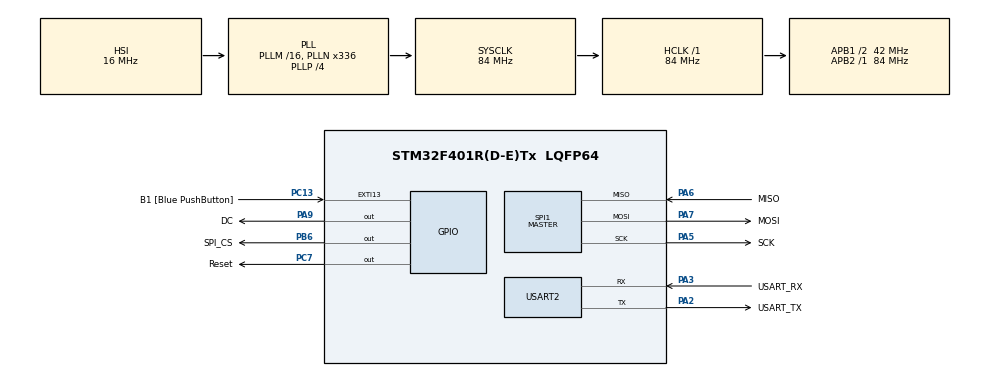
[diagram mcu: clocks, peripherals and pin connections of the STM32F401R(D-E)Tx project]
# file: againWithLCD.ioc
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Dma.Request0=SPI1_TX
Dma.Request1=SPI1_RX
Dma.SPI1_RX.1.Channel=DMA_CHANNEL_3
Dma.SPI1_RX.1.Direction=DMA_PERIPH_TO_MEMORY
Dma.SPI1_RX.1.FIFOMode=DMA_FIFOMODE_DISABLE
Dma.SPI1_RX.1.Instance=DMA2_Stream0
Dma.SPI1_RX.1.MemDataAlignment=DMA_MDATAALIGN_BYTE
Dma.SPI1_RX.1.MemInc=DMA_MINC_ENABLE
Dma.SPI1_RX.1.Mode=DMA_NORMAL
Dma.SPI1_RX.1.PeriphDataAlignment=DMA_PDATAALIGN_BYTE
Dma.SPI1_RX.1.PeriphInc=DMA_PINC_DISABLE
Dma.SPI1_RX.1.Priority=DMA_PRIORITY_LOW
Dma.SPI1_TX.0.Channel=DMA_CHANNEL_3
Dma.SPI1_TX.0.Direction=DMA_MEMORY_TO_PERIPH
Dma.SPI1_TX.0.FIFOMode=DMA_FIFOMODE_DISABLE
Dma.SPI1_TX.0.Instance=DMA2_Stream3
Dma.SPI1_TX.0.MemDataAlignment=DMA_MDATAALIGN_BYTE
Dma.SPI1_TX.0.MemInc=DMA_MINC_ENABLE
Dma.SPI1_TX.0.Mode=DMA_NORMAL
Dma.SPI1_TX.0.PeriphDataAlignment=DMA_PDATAALIGN_BYTE
Dma.SPI1_TX.0.PeriphInc=DMA_PINC_DISABLE
Dma.SPI1_TX.0.Priority=DMA_PRIORITY_LOW
FREERTOS.Tasks01=defaultTask,0,128,StartDefaultTask,Default;myTaskSPI,0,128,StartTask02,Default
FREERTOS.Timers01=myTimer01,Callback01,osTimerPeriodic,Default
FREERTOS.configUSE_TIMERS=1
Mcu.Family=STM32F4
Mcu.Name=STM32F401R(D-E)Tx
Mcu.Package=LQFP64
NVIC.DMA2_Stream0_IRQn=true\:5\:0\:false
NVIC.DMA2_Stream3_IRQn=true\:5\:0\:false
NVIC.PriorityGroup=NVIC_PRIORITYGROUP_4
NVIC.TIM1_UP_TIM10_IRQn=true\:0\:0\:false
NVIC.TimeBase=TIM1_UP_TIM10_IRQn
NVIC.TimeBaseIP=TIM10
PA13.GPIO_Label=TMS
PA13.Signal=SYS_JTMS-SWDIO
PA14.GPIO_Label=TCK
PA14.Signal=SYS_JTCK-SWCLK
PA2.GPIO_Label=USART_TX
PA2.GPIO_Mode=GPIO_MODE_AF_PP
PA2.GPIO_PuPd=GPIO_NOPULL
PA2.GPIO_Speed=GPIO_SPEED_LOW
PA2.Mode=Asynchronous
PA2.Signal=USART2_TX
PA3.GPIO_Label=USART_RX
PA3.GPIO_Mode=GPIO_MODE_AF_PP
PA3.GPIO_PuPd=GPIO_NOPULL
PA3.GPIO_Speed=GPIO_SPEED_LOW
PA3.Mode=Asynchronous
PA3.Signal=USART2_RX
PA5.GPIO_Label=SCK
PA5.Mode=Full_Duplex_Master
PA5.Signal=SPI1_SCK
PA6.GPIO_Label=MISO
PA6.Mode=Full_Duplex_Master
PA6.Signal=SPI1_MISO
PA7.GPIO_Label=MOSI
PA7.Mode=Full_Duplex_Master
PA7.Signal=SPI1_MOSI
PA9.GPIO_Label=DC
PA9.GPIO_Speed=GPIO_SPEED_HIGH
PA9.PinState=GPIO_PIN_RESET
PA9.Signal=GPIO_Output
PB3.GPIO_Label=SWO
PB3.Signal=SYS_JTDO-SWO
PB6.GPIO_Label=SPI_CS
PB6.GPIO_Speed=GPIO_SPEED_HIGH
PB6.Signal=GPIO_Output
PC13-ANTI_TAMP.GPIO_Label=B1 [Blue PushButton]
PC13-ANTI_TAMP.GPIO_ModeDefaultEXTI=GPIO_MODE_EVT_RISING
PC13-ANTI_TAMP.GPIO_PuPd=GPIO_NOPULL
PC13-ANTI_TAMP.Signal=GPXTI13
PC14-OSC32_IN.Signal=RCC_OSC32_IN
PC15-OSC32_OUT.Signal=RCC_OSC32_OUT
PC7.GPIO_Label=Reset
PC7.GPIO_Speed=GPIO_SPEED_HIGH
PC7.Signal=GPIO_Output
PH0\ -\ OSC_IN.Signal=RCC_OSC_IN
PH1\ -\ OSC_OUT.Signal=RCC_OSC_OUT
ProjectManager.HeapSize=0x400
ProjectManager.StackSize=0x200
ProjectManager.TargetToolchain=SW4STM32
RCC.AHBFreq_Value=84000000
RCC.APB1CLKDivider=RCC_HCLK_DIV2
RCC.APB1Freq_Value=42000000
RCC.APB1TimFreq_Value=84000000
RCC.APB2Freq_Value=84000000
RCC.APB2TimFreq_Value=84000000
RCC.CortexFreq_Value=84000000
RCC.HCLKFreq_Value=84000000
RCC.HSE_VALUE=8000000
RCC.HSI_VALUE=16000000
RCC.LSE_VALUE=32768
RCC.PLLN=336
RCC.PLLP=RCC_PLLP_DIV4
RCC.PLLQ=7
RCC.SYSCLKFreq_VALUE=84000000
RCC.SYSCLKSource=RCC_SYSCLKSOURCE_PLLCLK
RCC.VCOOutputFreq_Value=336000000
SPI1.CLKPhase=SPI_PHASE_1EDGE
SPI1.CLKPolarity=SPI_POLARITY_HIGH
SPI1.DataSize=SPI_DATASIZE_8BIT
SPI1.Mode=SPI_MODE_MASTER
VP_FREERTOS_VS_ENABLE.Mode=Enabled
VP_SYS_VS_tim10.Mode=TIM10
board=NUCLEO-F401RE

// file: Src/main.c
/**
  ******************************************************************************
  * File Name          : main.c
  * Description        : Main program body
  ******************************************************************************
  *
  * COPYRIGHT(c) 2016 STMicroelectronics
  *
  * Redistribution and use in source and binary forms, with or without modification,
  * are permitted provided that the following conditions are met:
  *   1. Redistributions of source code must retain the above copyright notice,
  *      this list of conditions and the following disclaimer.
  *   2. Redistributions in binary form must reproduce the above copyright notice,
  *      this list of conditions and the following disclaimer in the documentation
  *      and/or other materials provided with the distribution.
  *   3. Neither the name of STMicroelectronics nor the names of its contributors
  *      may be used to endorse or promote products derived from this software
  *      without specific prior written permission.
  *
  * THIS SOFTWARE IS PROVIDED BY THE COPYRIGHT HOLDERS AND CONTRIBUTORS "AS IS"
  * AND ANY EXPRESS OR IMPLIED WARRANTIES, INCLUDING, BUT NOT LIMITED TO, THE
  * IMPLIED WARRANTIES OF MERCHANTABILITY AND FITNESS FOR A PARTICULAR PURPOSE ARE
  * DISCLAIMED. IN NO EVENT SHALL THE COPYRIGHT HOLDER OR CONTRIBUTORS BE LIABLE
  * FOR ANY DIRECT, INDIRECT, INCIDENTAL, SPECIAL, EXEMPLARY, OR CONSEQUENTIAL
  * DAMAGES (INCLUDING, BUT NOT LIMITED TO, PROCUREMENT OF SUBSTITUTE GOODS OR
  * SERVICES; LOSS OF USE, DATA, OR PROFITS; OR BUSINESS INTERRUPTION) HOWEVER
  * CAUSED AND ON ANY THEORY OF LIABILITY, WHETHER IN CONTRACT, STRICT LIABILITY,
  * OR TORT (INCLUDING NEGLIGENCE OR OTHERWISE) ARISING IN ANY WAY OUT OF THE USE
  * OF THIS SOFTWARE, EVEN IF ADVISED OF THE POSSIBILITY OF SUCH DAMAGE.
  *
  ******************************************************************************
  */
#include "stm32f4xx_hal.h"
#include "cmsis_os.h"

/* USER CODE BEGIN Includes */

#include "ili9341.h"
#include <string.h>

/* USER CODE END Includes */

SPI_HandleTypeDef hspi1;
DMA_HandleTypeDef hdma_spi1_tx;
DMA_HandleTypeDef hdma_spi1_rx;

UART_HandleTypeDef huart2;

osThreadId defaultTaskHandle;
osThreadId myTaskSPIHandle;
osTimerId myTimer01Handle;

/* USER CODE BEGIN PV */
/* Private variables ---------------------------------------------------------*/

#ifdef __GNUC__
  /* With GCC/RAISONANCE, small printf (option LD Linker->Libraries->Small printf
     set to 'Yes') calls __io_putchar() */
  #define PUTCHAR_PROTOTYPE int __io_putchar(int ch)
#else
  #define PUTCHAR_PROTOTYPE int fputc(int ch, FILE *f)
#endif /* __GNUC__ */

	/**
  * @brief  Retargets the C library printf function to the USART.
  * @param  None
  * @retval None
  */

PUTCHAR_PROTOTYPE
{
  /* Place your implementation of fputc here */
  /* e.g. write a character to the EVAL_COM1 and Loop until the end of transmission */
  HAL_UART_Transmit(&huart2, (uint8_t *)&ch, 1,0xffff);

  return ch;
}

typedef enum {
	TM_ILI9341_Orientation_Portrait_1,  /*!< Portrait orientation mode 1 */
	TM_ILI9341_Orientation_Portrait_2,  /*!< Portrait orientation mode 2 */
	TM_ILI9341_Orientation_Landscape_1, /*!< Landscape orientation mode 1 */
	TM_ILI9341_Orientation_Landscape_2  /*!< Landscape orientation mode 2 */
} TM_ILI9341_Orientation_t;

/**
 * @brief  Orientation
 * @note   Used private
 */
typedef enum {
	TM_ILI9341_Landscape,
	TM_ILI9341_Portrait
} TM_ILI9341_Orientation;

/**
 * @brief  LCD options
 * @note   Used private
 */
typedef struct {
	uint16_t width;
	uint16_t height;
	TM_ILI9341_Orientation orientation; // 1 = portrait; 0 = landscape
} TM_ILI931_Options_t;

/* Pin functions */
uint16_t ILI9341_x;
uint16_t ILI9341_y;
TM_ILI931_Options_t ILI9341_Opts;
uint8_t ILI9341_INT_CalledFromPuts = 0;

/* USER CODE END PV */

void SystemClock_Config(void);
static void MX_GPIO_Init(void);
static void MX_DMA_Init(void);
static void MX_SPI1_Init(void);
static void MX_USART2_UART_Init(void);
void StartDefaultTask(void const * argument);
void StartTask02(void const * argument);
void Callback01(void const * argument);

/* USER CODE BEGIN PFP */
/* Private function prototypes -----------------------------------------------*/

void mputs( uint8_t *desired_string );
void CS_Set(uint8_t state);
void DC_Set(uint8_t state);
void ili9341_DrawPixel(uint16_t x, uint16_t y, uint32_t color);
void ili9341_DrawHLine(uint16_t x0, uint16_t x1, uint16_t y0, uint32_t color);
void ili9341_DrawVLine(uint16_t x, uint16_t y0, uint16_t y1, uint32_t color);
void ILI9341_SetCursorPosition(uint16_t x1, uint16_t y1, uint16_t x2, uint16_t y2);
void ili9341_Rotate(TM_ILI9341_Orientation_t orientation);
void SetSpiDataSize(uint8_t size);
void TM_ILI9341_INT_Fill(uint16_t x0, uint16_t y0, uint16_t x1, uint16_t y1, uint16_t color) ;
void ili9341_Fill(uint32_t color);

/* USER CODE END PFP */

/* USER CODE BEGIN 0 */

unsigned char counter = 0;

uint8_t TxBuff[4], RxBuff[4];

/* USER CODE END 0 */

int main(void)
{

  /* MCU Configuration----------------------------------------------------------*/

  /* Reset of all peripherals, Initializes the Flash interface and the Systick. */
  HAL_Init();

  /* Configure the system clock */
  SystemClock_Config();

  /* Initialize all configured peripherals */
  MX_GPIO_Init();
  MX_DMA_Init();
  MX_SPI1_Init();
  MX_USART2_UART_Init();

  /* USER CODE BEGIN 2 */

	ili9341_Init();
	ili9341_DisplayOn();
	ili9341_Rotate(TM_ILI9341_Orientation_Landscape_1);
	//ili9341_Fill(ILI9341_COLOR_BLUE);

	TxBuff[0] = 0;
	TxBuff[1] = 1;
	TxBuff[2] = 3;
	TxBuff[3] = 5;

	ili9341_Fill(ILI9341_COLOR_RED);

  /* USER CODE END 2 */

  /* Create the timer(s) */
  /* definition and creation of myTimer01 */
  osTimerDef(myTimer01, Callback01);
  myTimer01Handle = osTimerCreate(osTimer(myTimer01), osTimerPeriodic, NULL);

  /* USER CODE BEGIN RTOS_TIMERS */
  /* start timers, add new ones, ... */

	//osTimerStart(myTimer01Handle, 1000);

  /* USER CODE END RTOS_TIMERS */

  /* Create the thread(s) */
  /* definition and creation of defaultTask */
  osThreadDef(defaultTask, StartDefaultTask, osPriorityNormal, 0, 128);
  defaultTaskHandle = osThreadCreate(osThread(defaultTask), NULL);

  /* definition and creation of myTaskSPI */
  osThreadDef(myTaskSPI, StartTask02, osPriorityNormal, 0, 128);
  myTaskSPIHandle = osThreadCreate(osThread(myTaskSPI), NULL);

  /* Start scheduler */
  osKernelStart();

  /* We should never get here as control is now taken by the scheduler */

  /* Infinite loop */
  while (1)
  {

  }

}

/** System Clock Configuration
*/
void SystemClock_Config(void)
{

  RCC_OscInitTypeDef RCC_OscInitStruct;
  RCC_ClkInitTypeDef RCC_ClkInitStruct;

  __PWR_CLK_ENABLE();

  __HAL_PWR_VOLTAGESCALING_CONFIG(PWR_REGULATOR_VOLTAGE_SCALE2);

  RCC_OscInitStruct.OscillatorType = RCC_OSCILLATORTYPE_HSI;
  RCC_OscInitStruct.HSIState = RCC_HSI_ON;
  RCC_OscInitStruct.HSICalibrationValue = 16;
  RCC_OscInitStruct.PLL.PLLState = RCC_PLL_ON;
  RCC_OscInitStruct.PLL.PLLSource = RCC_PLLSOURCE_HSI;
  RCC_OscInitStruct.PLL.PLLM = 16;
  RCC_OscInitStruct.PLL.PLLN = 336;
  RCC_OscInitStruct.PLL.PLLP = RCC_PLLP_DIV4;
  RCC_OscInitStruct.PLL.PLLQ = 7;
  HAL_RCC_OscConfig(&RCC_OscInitStruct);

  RCC_ClkInitStruct.ClockType = RCC_CLOCKTYPE_HCLK|RCC_CLOCKTYPE_SYSCLK
                              |RCC_CLOCKTYPE_PCLK1|RCC_CLOCKTYPE_PCLK2;
  RCC_ClkInitStruct.SYSCLKSource = RCC_SYSCLKSOURCE_PLLCLK;
  RCC_ClkInitStruct.AHBCLKDivider = RCC_SYSCLK_DIV1;
  RCC_ClkInitStruct.APB1CLKDivider = RCC_HCLK_DIV2;
  RCC_ClkInitStruct.APB2CLKDivider = RCC_HCLK_DIV1;
  HAL_RCC_ClockConfig(&RCC_ClkInitStruct, FLASH_LATENCY_2);

  HAL_SYSTICK_Config(HAL_RCC_GetHCLKFreq()/1000);

  HAL_SYSTICK_CLKSourceConfig(SYSTICK_CLKSOURCE_HCLK);

  /* SysTick_IRQn interrupt configuration */
  HAL_NVIC_SetPriority(SysTick_IRQn, 15, 0);
}

/* SPI1 init function */
void MX_SPI1_Init(void)
{

  hspi1.Instance = SPI1;
  hspi1.Init.Mode = SPI_MODE_MASTER;
  hspi1.Init.Direction = SPI_DIRECTION_2LINES;
  hspi1.Init.DataSize = SPI_DATASIZE_8BIT;
  hspi1.Init.CLKPolarity = SPI_POLARITY_HIGH;
  hspi1.Init.CLKPhase = SPI_PHASE_1EDGE;
  hspi1.Init.NSS = SPI_NSS_SOFT;
  hspi1.Init.BaudRatePrescaler = SPI_BAUDRATEPRESCALER_2;
  hspi1.Init.FirstBit = SPI_FIRSTBIT_MSB;
  hspi1.Init.TIMode = SPI_TIMODE_DISABLED;
  hspi1.Init.CRCCalculation = SPI_CRCCALCULATION_DISABLED;
  hspi1.Init.CRCPolynomial = 10;
  HAL_SPI_Init(&hspi1);

}

/* USART2 init function */
void MX_USART2_UART_Init(void)
{

  huart2.Instance = USART2;
  huart2.Init.BaudRate = 115200;
  huart2.Init.WordLength = UART_WORDLENGTH_8B;
  huart2.Init.StopBits = UART_STOPBITS_1;
  huart2.Init.Parity = UART_PARITY_NONE;
  huart2.Init.Mode = UART_MODE_TX_RX;
  huart2.Init.HwFlowCtl = UART_HWCONTROL_NONE;
  huart2.Init.OverSampling = UART_OVERSAMPLING_16;
  HAL_UART_Init(&huart2);

}

void MX_DMA_Init(void)
{
  /* DMA controller clock enable */
  __DMA2_CLK_ENABLE();

  /* DMA interrupt init */
  HAL_NVIC_SetPriority(DMA2_Stream0_IRQn, 5, 0);
  HAL_NVIC_EnableIRQ(DMA2_Stream0_IRQn);
  HAL_NVIC_SetPriority(DMA2_Stream3_IRQn, 5, 0);
  HAL_NVIC_EnableIRQ(DMA2_Stream3_IRQn);

}

/** Configure pins as
        * Analog
        * Input
        * Output
        * EVENT_OUT
        * EXTI
*/
void MX_GPIO_Init(void)
{

  GPIO_InitTypeDef GPIO_InitStruct;

  /* GPIO Ports Clock Enable */
  __GPIOC_CLK_ENABLE();
  __GPIOH_CLK_ENABLE();
  __GPIOA_CLK_ENABLE();
  __GPIOB_CLK_ENABLE();

  /*Configure GPIO pin : B1_Pin */
  GPIO_InitStruct.Pin = B1_Pin;
  GPIO_InitStruct.Mode = GPIO_MODE_EVT_RISING;
  GPIO_InitStruct.Pull = GPIO_NOPULL;
  HAL_GPIO_Init(B1_GPIO_Port, &GPIO_InitStruct);

  /*Configure GPIO pin : Reset_Pin */
  GPIO_InitStruct.Pin = Reset_Pin;
  GPIO_InitStruct.Mode = GPIO_MODE_OUTPUT_PP;
  GPIO_InitStruct.Pull = GPIO_NOPULL;
  GPIO_InitStruct.Speed = GPIO_SPEED_HIGH;
  HAL_GPIO_Init(Reset_GPIO_Port, &GPIO_InitStruct);

  /*Configure GPIO pin : DC_Pin */
  GPIO_InitStruct.Pin = DC_Pin;
  GPIO_InitStruct.Mode = GPIO_MODE_OUTPUT_PP;
  GPIO_InitStruct.Pull = GPIO_NOPULL;
  GPIO_InitStruct.Speed = GPIO_SPEED_HIGH;
  HAL_GPIO_Init(DC_GPIO_Port, &GPIO_InitStruct);

  /*Configure GPIO pin : SPI_CS_Pin */
  GPIO_InitStruct.Pin = SPI_CS_Pin;
  GPIO_InitStruct.Mode = GPIO_MODE_OUTPUT_PP;
  GPIO_InitStruct.Pull = GPIO_NOPULL;
  GPIO_InitStruct.Speed = GPIO_SPEED_HIGH;
  HAL_GPIO_Init(SPI_CS_GPIO_Port, &GPIO_InitStruct);

  /*Configure GPIO pin Output Level */
  HAL_GPIO_WritePin(Reset_GPIO_Port, Reset_Pin, GPIO_PIN_RESET);

  /*Configure GPIO pin Output Level */
  HAL_GPIO_WritePin(DC_GPIO_Port, DC_Pin, GPIO_PIN_RESET);

  /*Configure GPIO pin Output Level */
  HAL_GPIO_WritePin(SPI_CS_GPIO_Port, SPI_CS_Pin, GPIO_PIN_RESET);

}

/* USER CODE BEGIN 4 */

void mputs( uint8_t *desired_string )
{
	HAL_UART_Transmit(&huart2, (uint8_t*) desired_string, (uint16_t)strlen(desired_string), 1000 );
}

void ili9341_DrawPixel(uint16_t x, uint16_t y, uint32_t color)
{
	ILI9341_SetCursorPosition(x, y, x, y);

	ili9341_WriteReg(LCD_GRAM);

	HAL_SPI_Transmit(&hspi1, (uint8_t *)&color, 2, 1000);

	//ili9341_WriteData(color >> 8);
	//ili9341_WriteData(color & 0xFF);
}

void ili9341_DrawHLine(uint16_t x0, uint16_t x1, uint16_t y0, uint32_t color)
{
	ILI9341_SetCursorPosition(x0, y0, x0, y0);

	ili9341_WriteReg(LCD_GRAM);

	int i, w;

	w = x1 - x0 + 1;

	for( i = 0; i<w; i++)
	{
		ili9341_DrawPixel(i, y0, color);
		//HAL_SPI_Transmit(&hspi1, (uint8_t *)&color, 2, 1000);
	}
}

void ili9341_DrawVLine(uint16_t x, uint16_t y0, uint16_t y1, uint32_t color)
{
	ILI9341_SetCursorPosition(x, y0, x, y1);

	ili9341_WriteReg(LCD_GRAM);

	int i, h;

	h = y1 - y0 + 1;

	for( i = 0; i<h; i++)
	{
		ili9341_DrawPixel(x, i, color);
		//HAL_SPI_Transmit(&hspi1, (uint8_t *)&color, 2, 1000);
	}
}

void ILI9341_SetCursorPosition(uint16_t x1, uint16_t y1, uint16_t x2, uint16_t y2)
{
	ili9341_WriteReg(LCD_COLUMN_ADDR);
	ili9341_WriteData(x1 >> 8);
	ili9341_WriteData(x1 & 0xFF);
	ili9341_WriteData(x2 >> 8);
	ili9341_WriteData(x2 & 0xFF);

	ili9341_WriteReg(LCD_PAGE_ADDR);
	ili9341_WriteData(y1 >> 8);
	ili9341_WriteData(y1 & 0xFF);
	ili9341_WriteData(y2 >> 8);
	ili9341_WriteData(y2 & 0xFF);
}

void SetSpiDataSize(uint8_t size)
{
	//disable SPI
	__HAL_SPI_DISABLE(&hspi1);

	//--setDataSize

	if(size == 16)
		hspi1.Instance->CR1 |= SPI_DATASIZE_16BIT;

	else  // switch to 8 bits data format
		hspi1.Instance->CR1 &= SPI_DATASIZE_8BIT;

	//enable SPI
	__HAL_SPI_ENABLE(&hspi1);
}

void ili9341_Fill(uint32_t color)
{
	/* Fill entire screen */
	TM_ILI9341_INT_Fill(0, 0, ILI9341_Opts.width - 1, ILI9341_Opts.height, color);
}

void TM_ILI9341_INT_Fill(uint16_t x0, uint16_t y0, uint16_t x1, uint16_t y1, uint16_t color)
{
	//uint32_t pixels_count;

	/* Set cursor position */
	ILI9341_SetCursorPosition(x0, y0, x1, y1);

	/* Set command for GRAM data */
	LCD_IO_WriteReg(LCD_GRAM);

	/* Calculate pixels count */
	//pixels_count = (x1 - x0 + 1) * (y1 - y0 + 1);

	/* Send everything */
//	CS_Set(0);
//	DC_Set(1);

	/* Go to 16-bit SPI mode */
//	SetSpiDataSize(16);

	uint16_t i,j;
	//
		for(i=x0;i<=x1;i++)
			for(j=y0;j<=y1;j++)

			{
				//ili9341_DrawPixel(i,j,color);  // slowest method

				// slow method
				/*uint8_t bufX, bufY;
				bufX = color >> 8;
				bufY = color & 0xff;

				HAL_SPI_Transmit(&hspi1, &bufX, 1, 1000);
				HAL_SPI_Transmit(&hspi1, &bufY, 1, 1000);*/

				// fastest method without DMA
				HAL_SPI_Transmit(&hspi1, (uint8_t *)&color, 2, 1000);
			}

	//CS_Set(1);
	/* Go back to 8-bit SPI mode */
//	SetSpiDataSize(8);
}

void CS_Set(uint8_t state)
{
	if(state == 0)
		HAL_GPIO_WritePin(SPI_CS_GPIO_Port, SPI_CS_Pin,GPIO_PIN_RESET);
	else
		HAL_GPIO_WritePin( SPI_CS_GPIO_Port, SPI_CS_Pin,GPIO_PIN_SET);
}

void DC_Set(uint8_t state)
{
	if(state == 0)
	HAL_GPIO_WritePin(DC_GPIO_Port, DC_Pin ,GPIO_PIN_RESET);
	else
		HAL_GPIO_WritePin(DC_GPIO_Port, DC_Pin, GPIO_PIN_SET);

}

void LCD_IO_Init(void)
	{
		HAL_GPIO_WritePin(Reset_GPIO_Port, Reset_Pin,GPIO_PIN_RESET); // reset_LCD is active LOW!!!!
		HAL_Delay(100);
		HAL_GPIO_WritePin(Reset_GPIO_Port,Reset_Pin,GPIO_PIN_SET); // reset_LCD is active LOW!!!!

		/* Set default settings */
		ILI9341_x = ILI9341_y = 0;
		ILI9341_Opts.width = ILI9341_LCD_PIXEL_WIDTH;
		ILI9341_Opts.height = ILI9341_LCD_PIXEL_HEIGHT;
		ILI9341_Opts.orientation = TM_ILI9341_Portrait;
	}

void ili9341_Rotate(TM_ILI9341_Orientation_t orientation) {
	LCD_IO_WriteReg(LCD_MAC);
	if (orientation == TM_ILI9341_Orientation_Portrait_1) {
		LCD_IO_WriteData(0x58);
	} else if (orientation == TM_ILI9341_Orientation_Portrait_2) {
		LCD_IO_WriteData(0x88);
	} else if (orientation == TM_ILI9341_Orientation_Landscape_1) {
		LCD_IO_WriteData(0x28);
	} else if (orientation == TM_ILI9341_Orientation_Landscape_2) {
		LCD_IO_WriteData(0xE8);
	}

	if (orientation == TM_ILI9341_Orientation_Portrait_1 || orientation == TM_ILI9341_Orientation_Portrait_2) {
		ILI9341_Opts.width = ILI9341_LCD_PIXEL_WIDTH;
		ILI9341_Opts.height = ILI9341_LCD_PIXEL_HEIGHT;
		ILI9341_Opts.orientation = TM_ILI9341_Portrait;
	} else {
		ILI9341_Opts.width = ILI9341_LCD_PIXEL_HEIGHT;
		ILI9341_Opts.height = ILI9341_LCD_PIXEL_WIDTH;
		ILI9341_Opts.orientation = TM_ILI9341_Landscape;
	}
}

	void  LCD_IO_WriteData(uint16_t RegValue)
{
	CS_Set(0);
	HAL_SPI_Transmit(&hspi1,(uint8_t*)&RegValue,1,1000);
	CS_Set(1);
}

void     LCD_IO_WriteReg(uint8_t Reg)
{
	DC_Set(0);
	CS_Set(0);
	HAL_SPI_Transmit(&hspi1,&Reg,1, 1000);
	DC_Set(1);
}

uint32_t LCD_IO_ReadData(uint16_t RegValue, uint8_t ReadSize)
{
	uint8_t rx;
	uint8_t tx = (uint8_t) RegValue;
	HAL_SPI_Receive_DMA(&hspi1, &rx,1);
	return rx;
}

/* USER CODE END 4 */

/* StartDefaultTask function */
void StartDefaultTask(void const * argument)
{

  /* USER CODE BEGIN 5 */
  /* Infinite loop */

	uint8_t buff[100];

  for(;;)
  {
	sprintf( (char*)buff, "%d. hello World!\r\n", counter++);
	mputs(buff);

    osDelay(1000);
  }
  /* USER CODE END 5 */
}

/* StartTask02 function */
void StartTask02(void const * argument)
{
  /* USER CODE BEGIN StartTask02 */

	/****  LCD Task  ****/

	static int count = 0;

	/* Infinite loop */
  for(;;)
  {
    printf("%d. hello from LCD Task\r\n", count++);

	// ili9341_DrawPixel( (rand() % 320) , (rand() % 240), (rand() % 0xffff));

		int i;
		for(i=0; i<10; i++)
		{
			ili9341_DrawHLine(0, 320, (rand() % 240), ( rand() % 0x0000) );	// horizontal line

			ili9341_DrawVLine( (rand() % 320), 0, 240, ( rand() % 0x0000) ); // vertical line
		}

		osDelay(1000);
		ili9341_Fill((rand()%0xffff));

		osDelay(1);
  }
  /* USER CODE END StartTask02 */
}

/* Callback01 function */
void Callback01(void const * argument)
{
  /* USER CODE BEGIN Callback01 */

	//static int count = 0;
	//printf("%d. timer callback\r\n", count++);

  /* USER CODE END Callback01 */
}

/************************ (C) COPYRIGHT STMicroelectronics *****END OF FILE****/
